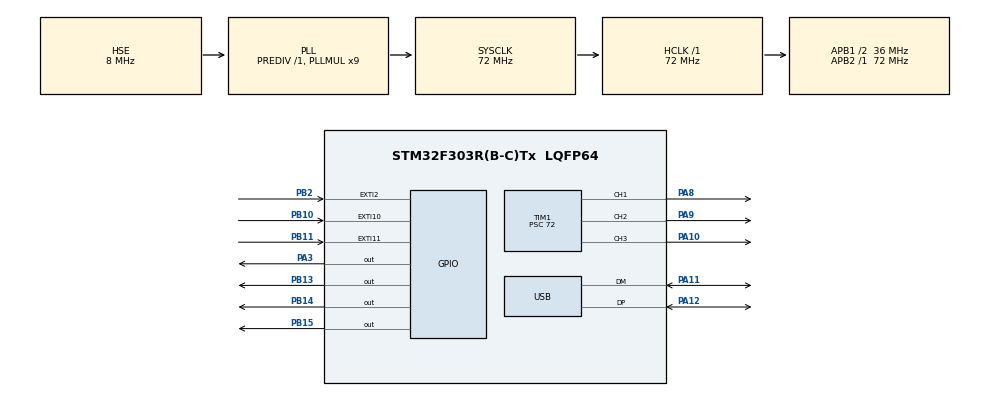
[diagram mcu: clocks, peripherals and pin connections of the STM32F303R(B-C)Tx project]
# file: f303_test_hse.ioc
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Mcu.Family=STM32F3
Mcu.Name=STM32F303R(B-C)Tx
Mcu.Package=LQFP64
NVIC.EXTI15_10_IRQn=true\:1\:0\:true\:false\:true\:true
NVIC.EXTI2_TSC_IRQn=true\:1\:0\:true\:false\:true\:true
NVIC.PriorityGroup=NVIC_PRIORITYGROUP_4
NVIC.TIM3_IRQn=true\:2\:0\:true\:false\:true\:true
NVIC.TIM4_IRQn=true\:2\:0\:true\:false\:true\:true
NVIC.USB_LP_CAN_RX0_IRQn=true\:0\:0\:false\:false\:true\:false
PA10.GPIO_PuPd=GPIO_PULLDOWN
PA10.Signal=S_TIM1_CH3
PA11.Mode=Device
PA11.Signal=USB_DM
PA12.Mode=Device
PA12.Signal=USB_DP
PA3.Signal=GPIO_Output
PA8.GPIO_PuPd=GPIO_PULLDOWN
PA8.Signal=S_TIM1_CH1
PA9.GPIO_PuPd=GPIO_PULLDOWN
PA9.Signal=S_TIM1_CH2
PB10.GPIO_PuPd=GPIO_PULLDOWN
PB10.Signal=GPXTI10
PB11.GPIO_PuPd=GPIO_PULLDOWN
PB11.Signal=GPXTI11
PB13.GPIO_ModeDefaultOutputPP=GPIO_MODE_OUTPUT_PP
PB13.GPIO_PuPd=GPIO_PULLDOWN
PB13.Signal=GPIO_Output
PB14.GPIO_ModeDefaultOutputPP=GPIO_MODE_OUTPUT_PP
PB14.GPIO_PuPd=GPIO_PULLDOWN
PB14.Signal=GPIO_Output
PB15.GPIO_ModeDefaultOutputPP=GPIO_MODE_OUTPUT_PP
PB15.GPIO_PuPd=GPIO_PULLDOWN
PB15.Signal=GPIO_Output
PB2.GPIO_PuPd=GPIO_PULLDOWN
PB2.Signal=GPXTI2
PF0-OSC_IN.Mode=HSE-External-Oscillator
PF0-OSC_IN.Signal=RCC_OSC_IN
PF1-OSC_OUT.Mode=HSE-External-Oscillator
PF1-OSC_OUT.Signal=RCC_OSC_OUT
ProjectManager.HeapSize=0x200
ProjectManager.StackSize=0x400
ProjectManager.TargetToolchain=MDK-ARM V5
RCC.AHBFreq_Value=72000000
RCC.APB1CLKDivider=RCC_HCLK_DIV2
RCC.APB1Freq_Value=36000000
RCC.APB1TimFreq_Value=72000000
RCC.APB2Freq_Value=72000000
RCC.APB2TimFreq_Value=72000000
RCC.CortexFreq_Value=72000000
RCC.HCLKFreq_Value=72000000
RCC.HSE_VALUE=8000000
RCC.HSI_VALUE=8000000
RCC.LSE_VALUE=32768
RCC.PLLMUL=RCC_PLL_MUL9
RCC.PRESCALERUSB=RCC_USBCLKSOURCE_PLL_DIV1_5
RCC.SYSCLKFreq_VALUE=72000000
RCC.SYSCLKSourceVirtual=RCC_SYSCLKSOURCE_PLLCLK
RCC.USBFreq_Value=48000000
SH.S_TIM1_CH1.0=TIM1_CH1,PWM Generation1 CH1
SH.S_TIM1_CH2.0=TIM1_CH2,PWM Generation2 CH2
SH.S_TIM1_CH3.0=TIM1_CH3,PWM Generation3 CH3
TIM1.Channel-PWM\ Generation1\ CH1=TIM_CHANNEL_1
TIM1.Channel-PWM\ Generation2\ CH2=TIM_CHANNEL_2
TIM1.Channel-PWM\ Generation3\ CH3=TIM_CHANNEL_3
TIM1.Prescaler=72
TIM1.Pulse-PWM\ Generation1\ CH1=1200
TIM1.Pulse-PWM\ Generation2\ CH2=1200
TIM1.Pulse-PWM\ Generation3\ CH3=1200
TIM1.RepetitionCounter=2400
TIM2.Period=4294967295
TIM2.Prescaler=72
USB_DEVICE.CLASS_NAME_FS=CDC
USB_DEVICE.VirtualMode=Cdc
USB_DEVICE.VirtualModeFS=Cdc_FS
VP_TIM1_VS_ClockSourceINT.Mode=Internal
VP_TIM2_VS_ClockSourceINT.Mode=Internal
VP_TIM3_VS_ClockSourceINT.Mode=Internal
VP_TIM4_VS_ClockSourceINT.Mode=Internal
VP_USB_DEVICE_VS_USB_DEVICE_CDC_FS.Mode=CDC_FS
board=f303_test_hse

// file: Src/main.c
/**
  ******************************************************************************
  * File Name          : main.c
  * Description        : Main program body
  ******************************************************************************
  * This notice applies to any and all portions of this file
  * that are not between comment pairs USER CODE BEGIN and
  * USER CODE END. Other portions of this file, whether
  * inserted by the user or by software development tools
  * are owned by their respective copyright owners.
  *
  * Copyright (c) 2018 STMicroelectronics International N.V.
  * All rights reserved.
  *
  * Redistribution and use in source and binary forms, with or without
  * modification, are permitted, provided that the following conditions are met:
  *
  * 1. Redistribution of source code must retain the above copyright notice,
  *    this list of conditions and the following disclaimer.
  * 2. Redistributions in binary form must reproduce the above copyright notice,
  *    this list of conditions and the following disclaimer in the documentation
  *    and/or other materials provided with the distribution.
  * 3. Neither the name of STMicroelectronics nor the names of other
  *    contributors to this software may be used to endorse or promote products
  *    derived from this software without specific written permission.
  * 4. This software, including modifications and/or derivative works of this
  *    software, must execute solely and exclusively on microcontroller or
  *    microprocessor devices manufactured by or for STMicroelectronics.
  * 5. Redistribution and use of this software other than as permitted under
  *    this license is void and will automatically terminate your rights under
  *    this license.
  *
  * THIS SOFTWARE IS PROVIDED BY STMICROELECTRONICS AND CONTRIBUTORS "AS IS"
  * AND ANY EXPRESS, IMPLIED OR STATUTORY WARRANTIES, INCLUDING, BUT NOT
  * LIMITED TO, THE IMPLIED WARRANTIES OF MERCHANTABILITY, FITNESS FOR A
  * PARTICULAR PURPOSE AND NON-INFRINGEMENT OF THIRD PARTY INTELLECTUAL PROPERTY
  * RIGHTS ARE DISCLAIMED TO THE FULLEST EXTENT PERMITTED BY LAW. IN NO EVENT
  * SHALL STMICROELECTRONICS OR CONTRIBUTORS BE LIABLE FOR ANY DIRECT, INDIRECT,
  * INCIDENTAL, SPECIAL, EXEMPLARY, OR CONSEQUENTIAL DAMAGES (INCLUDING, BUT NOT
  * LIMITED TO, PROCUREMENT OF SUBSTITUTE GOODS OR SERVICES; LOSS OF USE, DATA,
  * OR PROFITS; OR BUSINESS INTERRUPTION) HOWEVER CAUSED AND ON ANY THEORY OF
  * LIABILITY, WHETHER IN CONTRACT, STRICT LIABILITY, OR TORT (INCLUDING
  * NEGLIGENCE OR OTHERWISE) ARISING IN ANY WAY OUT OF THE USE OF THIS SOFTWARE,
  * EVEN IF ADVISED OF THE POSSIBILITY OF SUCH DAMAGE.
  *
  ******************************************************************************
  */

#include "main.h"
#include "stm32f3xx_hal.h"
#include "usb_device.h"

TIM_HandleTypeDef htim1;
TIM_HandleTypeDef htim2;
TIM_HandleTypeDef htim3;
TIM_HandleTypeDef htim4;

/* USER CODE BEGIN PV */
/* Private variables ---------------------------------------------------------*/
float t_set = 4294.0f;
const int t_set_cr = 1500;
const int pwm_cr = 810;
const int pwm_min = 350 ;
int t_prev = 0;
int t_curr = 0;
const int pwm_max = 2400;
int pwm_val = 800;
int diff = 0;
int min_diff = 250;
bool rot_lf = true;
uint8_t receive_buf[64] = {0};
uint32_t rot_val = 34;
bool new_state = false;
/* USER CODE END PV */

void SystemClock_Config(void);
static void MX_GPIO_Init(void);
static void MX_TIM1_Init(void);
static void MX_TIM2_Init(void);
static void MX_TIM3_Init(void);
static void MX_TIM4_Init(void);
void HAL_TIM_MspPostInit(TIM_HandleTypeDef *htim);

/* USER CODE BEGIN PFP */
/* Private function prototypes -----------------------------------------------*/

/* USER CODE END PFP */

int main(void)
{

  /* MCU Configuration----------------------------------------------------------*/

  /* Reset of all peripherals, Initializes the Flash interface and the Systick. */
  HAL_Init();

  /* Configure the system clock */
  SystemClock_Config();

  /* Initialize all configured peripherals */
  MX_GPIO_Init();
  MX_USB_DEVICE_Init();
  MX_TIM1_Init();
  MX_TIM2_Init();
  MX_TIM3_Init();
  MX_TIM4_Init();

  /* USER CODE BEGIN 2 */
	HAL_TIM_PWM_Init(&htim1);
	HAL_TIM_Base_Start(&htim1);
	HAL_TIM_Base_Start(&htim2);
	HAL_TIM_Base_Start_IT(&htim3);
	HAL_TIM_Base_Start_IT(&htim4);
	HAL_NVIC_SetPriority(TIM3_IRQn , 2, 0);
  HAL_NVIC_EnableIRQ(TIM3_IRQn);
  /* USER CODE END 2 */

  /* Infinite loop */
  while (1)
  {

  }

}

/** System Clock Configuration
*/
void SystemClock_Config(void)
{

  RCC_OscInitTypeDef RCC_OscInitStruct;
  RCC_ClkInitTypeDef RCC_ClkInitStruct;
  RCC_PeriphCLKInitTypeDef PeriphClkInit;

    /**Initializes the CPU, AHB and APB busses clocks
    */
  RCC_OscInitStruct.OscillatorType = RCC_OSCILLATORTYPE_HSE;
  RCC_OscInitStruct.HSEState = RCC_HSE_ON;
  RCC_OscInitStruct.HSEPredivValue = RCC_HSE_PREDIV_DIV1;
  RCC_OscInitStruct.HSIState = RCC_HSI_ON;
  RCC_OscInitStruct.PLL.PLLState = RCC_PLL_ON;
  RCC_OscInitStruct.PLL.PLLSource = RCC_PLLSOURCE_HSE;
  RCC_OscInitStruct.PLL.PLLMUL = RCC_PLL_MUL9;
  if (HAL_RCC_OscConfig(&RCC_OscInitStruct) != HAL_OK)
  {
    _Error_Handler(__FILE__, __LINE__);
  }

    /**Initializes the CPU, AHB and APB busses clocks
    */
  RCC_ClkInitStruct.ClockType = RCC_CLOCKTYPE_HCLK|RCC_CLOCKTYPE_SYSCLK
                              |RCC_CLOCKTYPE_PCLK1|RCC_CLOCKTYPE_PCLK2;
  RCC_ClkInitStruct.SYSCLKSource = RCC_SYSCLKSOURCE_PLLCLK;
  RCC_ClkInitStruct.AHBCLKDivider = RCC_SYSCLK_DIV1;
  RCC_ClkInitStruct.APB1CLKDivider = RCC_HCLK_DIV2;
  RCC_ClkInitStruct.APB2CLKDivider = RCC_HCLK_DIV1;

  if (HAL_RCC_ClockConfig(&RCC_ClkInitStruct, FLASH_LATENCY_2) != HAL_OK)
  {
    _Error_Handler(__FILE__, __LINE__);
  }

  PeriphClkInit.PeriphClockSelection = RCC_PERIPHCLK_USB|RCC_PERIPHCLK_TIM1;
  PeriphClkInit.USBClockSelection = RCC_USBCLKSOURCE_PLL_DIV1_5;
  PeriphClkInit.Tim1ClockSelection = RCC_TIM1CLK_HCLK;
  if (HAL_RCCEx_PeriphCLKConfig(&PeriphClkInit) != HAL_OK)
  {
    _Error_Handler(__FILE__, __LINE__);
  }

    /**Configure the Systick interrupt time
    */
  HAL_SYSTICK_Config(HAL_RCC_GetHCLKFreq()/1000);

    /**Configure the Systick
    */
  HAL_SYSTICK_CLKSourceConfig(SYSTICK_CLKSOURCE_HCLK);

  /* SysTick_IRQn interrupt configuration */
  HAL_NVIC_SetPriority(SysTick_IRQn, 0, 0);
}

/* TIM1 init function */
static void MX_TIM1_Init(void)
{

  TIM_ClockConfigTypeDef sClockSourceConfig;
  TIM_MasterConfigTypeDef sMasterConfig;
  TIM_OC_InitTypeDef sConfigOC;
  TIM_BreakDeadTimeConfigTypeDef sBreakDeadTimeConfig;

  htim1.Instance = TIM1;
  htim1.Init.Prescaler = 0;
  htim1.Init.CounterMode = TIM_COUNTERMODE_UP;
  htim1.Init.Period = 2400;
  htim1.Init.ClockDivision = TIM_CLOCKDIVISION_DIV1;
  htim1.Init.RepetitionCounter = 0;
  htim1.Init.AutoReloadPreload = TIM_AUTORELOAD_PRELOAD_DISABLE;
  if (HAL_TIM_Base_Init(&htim1) != HAL_OK)
  {
    _Error_Handler(__FILE__, __LINE__);
  }

  sClockSourceConfig.ClockSource = TIM_CLOCKSOURCE_INTERNAL;
  if (HAL_TIM_ConfigClockSource(&htim1, &sClockSourceConfig) != HAL_OK)
  {
    _Error_Handler(__FILE__, __LINE__);
  }

  if (HAL_TIM_PWM_Init(&htim1) != HAL_OK)
  {
    _Error_Handler(__FILE__, __LINE__);
  }

  sMasterConfig.MasterOutputTrigger = TIM_TRGO_RESET;
  sMasterConfig.MasterOutputTrigger2 = TIM_TRGO2_RESET;
  sMasterConfig.MasterSlaveMode = TIM_MASTERSLAVEMODE_DISABLE;
  if (HAL_TIMEx_MasterConfigSynchronization(&htim1, &sMasterConfig) != HAL_OK)
  {
    _Error_Handler(__FILE__, __LINE__);
  }

  sConfigOC.OCMode = TIM_OCMODE_PWM1;
  sConfigOC.Pulse = 200;
  sConfigOC.OCPolarity = TIM_OCPOLARITY_HIGH;
  sConfigOC.OCNPolarity = TIM_OCNPOLARITY_HIGH;
  sConfigOC.OCFastMode = TIM_OCFAST_DISABLE;
  sConfigOC.OCIdleState = TIM_OCIDLESTATE_RESET;
  sConfigOC.OCNIdleState = TIM_OCNIDLESTATE_RESET;
  if (HAL_TIM_PWM_ConfigChannel(&htim1, &sConfigOC, TIM_CHANNEL_1) != HAL_OK)
  {
    _Error_Handler(__FILE__, __LINE__);
  }

  if (HAL_TIM_PWM_ConfigChannel(&htim1, &sConfigOC, TIM_CHANNEL_2) != HAL_OK)
  {
    _Error_Handler(__FILE__, __LINE__);
  }

  if (HAL_TIM_PWM_ConfigChannel(&htim1, &sConfigOC, TIM_CHANNEL_3) != HAL_OK)
  {
    _Error_Handler(__FILE__, __LINE__);
  }

  sBreakDeadTimeConfig.OffStateRunMode = TIM_OSSR_DISABLE;
  sBreakDeadTimeConfig.OffStateIDLEMode = TIM_OSSI_DISABLE;
  sBreakDeadTimeConfig.LockLevel = TIM_LOCKLEVEL_OFF;
  sBreakDeadTimeConfig.DeadTime = 0;
  sBreakDeadTimeConfig.BreakState = TIM_BREAK_DISABLE;
  sBreakDeadTimeConfig.BreakPolarity = TIM_BREAKPOLARITY_HIGH;
  sBreakDeadTimeConfig.BreakFilter = 0;
  sBreakDeadTimeConfig.Break2State = TIM_BREAK2_DISABLE;
  sBreakDeadTimeConfig.Break2Polarity = TIM_BREAK2POLARITY_HIGH;
  sBreakDeadTimeConfig.Break2Filter = 0;
  sBreakDeadTimeConfig.AutomaticOutput = TIM_AUTOMATICOUTPUT_DISABLE;
  if (HAL_TIMEx_ConfigBreakDeadTime(&htim1, &sBreakDeadTimeConfig) != HAL_OK)
  {
    _Error_Handler(__FILE__, __LINE__);
  }

  HAL_TIM_MspPostInit(&htim1);

}

/* TIM2 init function */
static void MX_TIM2_Init(void)
{

  TIM_ClockConfigTypeDef sClockSourceConfig;
  TIM_MasterConfigTypeDef sMasterConfig;

  htim2.Instance = TIM2;
  htim2.Init.Prescaler = 72;
  htim2.Init.CounterMode = TIM_COUNTERMODE_UP;
  htim2.Init.Period = 4294967295;
  htim2.Init.ClockDivision = TIM_CLOCKDIVISION_DIV1;
  htim2.Init.AutoReloadPreload = TIM_AUTORELOAD_PRELOAD_DISABLE;
  if (HAL_TIM_Base_Init(&htim2) != HAL_OK)
  {
    _Error_Handler(__FILE__, __LINE__);
  }

  sClockSourceConfig.ClockSource = TIM_CLOCKSOURCE_INTERNAL;
  if (HAL_TIM_ConfigClockSource(&htim2, &sClockSourceConfig) != HAL_OK)
  {
    _Error_Handler(__FILE__, __LINE__);
  }

  sMasterConfig.MasterOutputTrigger = TIM_TRGO_RESET;
  sMasterConfig.MasterSlaveMode = TIM_MASTERSLAVEMODE_DISABLE;
  if (HAL_TIMEx_MasterConfigSynchronization(&htim2, &sMasterConfig) != HAL_OK)
  {
    _Error_Handler(__FILE__, __LINE__);
  }

}

/* TIM3 init function */
static void MX_TIM3_Init(void)
{

  TIM_ClockConfigTypeDef sClockSourceConfig;
  TIM_MasterConfigTypeDef sMasterConfig;

  htim3.Instance = TIM3;
  htim3.Init.Prescaler = 72;
  htim3.Init.CounterMode = TIM_COUNTERMODE_UP;
  htim3.Init.Period = 300;
  htim3.Init.ClockDivision = TIM_CLOCKDIVISION_DIV1;
  htim3.Init.AutoReloadPreload = TIM_AUTORELOAD_PRELOAD_DISABLE;
  if (HAL_TIM_Base_Init(&htim3) != HAL_OK)
  {
    _Error_Handler(__FILE__, __LINE__);
  }

  sClockSourceConfig.ClockSource = TIM_CLOCKSOURCE_INTERNAL;
  if (HAL_TIM_ConfigClockSource(&htim3, &sClockSourceConfig) != HAL_OK)
  {
    _Error_Handler(__FILE__, __LINE__);
  }

  sMasterConfig.MasterOutputTrigger = TIM_TRGO_RESET;
  sMasterConfig.MasterSlaveMode = TIM_MASTERSLAVEMODE_DISABLE;
  if (HAL_TIMEx_MasterConfigSynchronization(&htim3, &sMasterConfig) != HAL_OK)
  {
    _Error_Handler(__FILE__, __LINE__);
  }

}

/* TIM4 init function */
static void MX_TIM4_Init(void)
{

  TIM_ClockConfigTypeDef sClockSourceConfig;
  TIM_MasterConfigTypeDef sMasterConfig;

  htim4.Instance = TIM4;
  htim4.Init.Prescaler = 0;
  htim4.Init.CounterMode = TIM_COUNTERMODE_UP;
  htim4.Init.Period = 0;
  htim4.Init.ClockDivision = TIM_CLOCKDIVISION_DIV1;
  htim4.Init.AutoReloadPreload = TIM_AUTORELOAD_PRELOAD_DISABLE;
  if (HAL_TIM_Base_Init(&htim4) != HAL_OK)
  {
    _Error_Handler(__FILE__, __LINE__);
  }

  sClockSourceConfig.ClockSource = TIM_CLOCKSOURCE_INTERNAL;
  if (HAL_TIM_ConfigClockSource(&htim4, &sClockSourceConfig) != HAL_OK)
  {
    _Error_Handler(__FILE__, __LINE__);
  }

  sMasterConfig.MasterOutputTrigger = TIM_TRGO_RESET;
  sMasterConfig.MasterSlaveMode = TIM_MASTERSLAVEMODE_DISABLE;
  if (HAL_TIMEx_MasterConfigSynchronization(&htim4, &sMasterConfig) != HAL_OK)
  {
    _Error_Handler(__FILE__, __LINE__);
  }

}

/** Configure pins as
        * Analog
        * Input
        * Output
        * EVENT_OUT
        * EXTI
*/
static void MX_GPIO_Init(void)
{

  GPIO_InitTypeDef GPIO_InitStruct;

  /* GPIO Ports Clock Enable */
  __HAL_RCC_GPIOF_CLK_ENABLE();
  __HAL_RCC_GPIOA_CLK_ENABLE();
  __HAL_RCC_GPIOB_CLK_ENABLE();

  /*Configure GPIO pin Output Level */
  HAL_GPIO_WritePin(GPIOA, GPIO_PIN_3, GPIO_PIN_RESET);

  /*Configure GPIO pin Output Level */
  HAL_GPIO_WritePin(GPIOB, GPIO_PIN_13|GPIO_PIN_14|GPIO_PIN_15, GPIO_PIN_RESET);

  /*Configure GPIO pin : PA3 */
  GPIO_InitStruct.Pin = GPIO_PIN_3;
  GPIO_InitStruct.Mode = GPIO_MODE_OUTPUT_PP;
  GPIO_InitStruct.Pull = GPIO_NOPULL;
  GPIO_InitStruct.Speed = GPIO_SPEED_FREQ_LOW;
  HAL_GPIO_Init(GPIOA, &GPIO_InitStruct);

  /*Configure GPIO pins : PB2 PB10 PB11 */
  GPIO_InitStruct.Pin = GPIO_PIN_2|GPIO_PIN_10|GPIO_PIN_11;
  GPIO_InitStruct.Mode = GPIO_MODE_IT_RISING_FALLING;
  GPIO_InitStruct.Pull = GPIO_PULLDOWN;
  HAL_GPIO_Init(GPIOB, &GPIO_InitStruct);

  /*Configure GPIO pins : PB13 PB14 PB15 */
  GPIO_InitStruct.Pin = GPIO_PIN_13|GPIO_PIN_14|GPIO_PIN_15;
  GPIO_InitStruct.Mode = GPIO_MODE_OUTPUT_PP;
  GPIO_InitStruct.Pull = GPIO_PULLDOWN;
  GPIO_InitStruct.Speed = GPIO_SPEED_FREQ_LOW;
  HAL_GPIO_Init(GPIOB, &GPIO_InitStruct);

  /* EXTI interrupt init*/
  HAL_NVIC_SetPriority(EXTI2_TSC_IRQn, 1, 0);
  HAL_NVIC_EnableIRQ(EXTI2_TSC_IRQn);

  HAL_NVIC_SetPriority(EXTI15_10_IRQn, 1, 0);
  HAL_NVIC_EnableIRQ(EXTI15_10_IRQn);

}

/* USER CODE BEGIN 4 */
void rotate(void){
	new_state = true;
	int c_state = calcState();

	stopAll();

	switch( c_state ){
		case 1:
			HAL_TIM_PWM_Start(&htim1,TIM_CHANNEL_1);
			HAL_GPIO_WritePin(GPIOB,GPIO_PIN_14,GPIO_PIN_SET);
			break;
    case 3:
			HAL_TIM_PWM_Start(&htim1,TIM_CHANNEL_1);
			HAL_GPIO_WritePin(GPIOB,GPIO_PIN_15,GPIO_PIN_SET);
			break;
		case 2:
			HAL_TIM_PWM_Start(&htim1,TIM_CHANNEL_2);
			HAL_GPIO_WritePin(GPIOB,GPIO_PIN_15,GPIO_PIN_SET);
			break;
		case 6:
			HAL_TIM_PWM_Start(&htim1,TIM_CHANNEL_2);
			HAL_GPIO_WritePin(GPIOB,GPIO_PIN_13,GPIO_PIN_SET);
			break;
		case 4:
			HAL_TIM_PWM_Start(&htim1,TIM_CHANNEL_3);
			HAL_GPIO_WritePin(GPIOB,GPIO_PIN_13,GPIO_PIN_SET);
			break;
		case 5:
			HAL_TIM_PWM_Start(&htim1,TIM_CHANNEL_3);
			HAL_GPIO_WritePin(GPIOB,GPIO_PIN_14,GPIO_PIN_SET);
			break;

    default:
			stopAll();
	}

	return;
};

void calcDiff(void){
	char b[30];
	t_curr = htim2.Instance->CNT;
	diff = t_curr - t_prev;
	t_prev = t_curr;
	sprintf(b,"%d,\n",diff);
	CDC_Transmit_FS(b,strlen(b));
};

void rotate2(void){
	const int states[6] = {1,3,2,6,4,5};
	static int i = 0;
	int c_state = states[i];
	stopAll();
	++i;
	if (i>=6) {
		i = 0;
	}
	switch( c_state ){
		case 1:
			HAL_TIM_PWM_Start(&htim1,TIM_CHANNEL_1);
			HAL_GPIO_WritePin(GPIOB,GPIO_PIN_14,GPIO_PIN_SET);
			break;
    case 3:
			HAL_TIM_PWM_Start(&htim1,TIM_CHANNEL_1);
			HAL_GPIO_WritePin(GPIOB,GPIO_PIN_15,GPIO_PIN_SET);
			break;
		case 2:
			HAL_TIM_PWM_Start(&htim1,TIM_CHANNEL_2);
			HAL_GPIO_WritePin(GPIOB,GPIO_PIN_15,GPIO_PIN_SET);
			break;
		case 6:
			HAL_TIM_PWM_Start(&htim1,TIM_CHANNEL_2);
			HAL_GPIO_WritePin(GPIOB,GPIO_PIN_13,GPIO_PIN_SET);
			break;
		case 4:
			HAL_TIM_PWM_Start(&htim1,TIM_CHANNEL_3);
			HAL_GPIO_WritePin(GPIOB,GPIO_PIN_13,GPIO_PIN_SET);
			break;
		case 5:
			HAL_TIM_PWM_Start(&htim1,TIM_CHANNEL_3);
			HAL_GPIO_WritePin(GPIOB,GPIO_PIN_14,GPIO_PIN_SET);
			break;

    default:
			stopAll();
	}
	return;
};

void usDelay(int d){
	int t = htim2.Instance->CNT;
	while(htim2.Instance->CNT - t < d){

	}

};

int calcState(void){
	//B11 - 4, B10 - 2, B2 -1
	int cc_stt = 0;
	if(HAL_GPIO_ReadPin(GPIOB,GPIO_PIN_2) == GPIO_PIN_SET){
		cc_stt += 1;
	}
	if(HAL_GPIO_ReadPin(GPIOB,GPIO_PIN_10) == GPIO_PIN_SET){
		cc_stt += 2;
	}
	if(HAL_GPIO_ReadPin(GPIOB,GPIO_PIN_11) == GPIO_PIN_SET){
		cc_stt += 4;
	}
	return cc_stt;
};

void startRotate(void){
	int count = 0;
	int h_delay = 1;
	int start_val = 2350;
	HAL_NVIC_DisableIRQ(EXTI15_10_IRQn);
	HAL_NVIC_DisableIRQ(EXTI2_TSC_IRQn);
	__HAL_TIM_SET_COMPARE(&htim1,TIM_CHANNEL_1,start_val);
	__HAL_TIM_SET_COMPARE(&htim1,TIM_CHANNEL_2,start_val);
	__HAL_TIM_SET_COMPARE(&htim1,TIM_CHANNEL_3,start_val);
	while (count<200)
  {
				++count;
				rotate();
				HAL_Delay(h_delay);

  }
	HAL_NVIC_EnableIRQ(EXTI15_10_IRQn);
	HAL_NVIC_EnableIRQ(EXTI2_TSC_IRQn);
	__HAL_TIM_SET_COMPARE(&htim1,TIM_CHANNEL_1,pwm_val);
	__HAL_TIM_SET_COMPARE(&htim1,TIM_CHANNEL_2,pwm_val);
	__HAL_TIM_SET_COMPARE(&htim1,TIM_CHANNEL_3,pwm_val);
	HAL_NVIC_SetPriority(TIM4_IRQn , 2, 1);
  HAL_NVIC_EnableIRQ(TIM4_IRQn);
	HAL_NVIC_SetPriority(TIM3_IRQn , 2, 0);
  HAL_NVIC_EnableIRQ(TIM3_IRQn);
	return;
};

void stopAll(void){
	HAL_TIM_PWM_Stop(&htim1,TIM_CHANNEL_1); //SW1
	HAL_TIM_PWM_Stop(&htim1,TIM_CHANNEL_2); //SW3
	HAL_TIM_PWM_Stop(&htim1,TIM_CHANNEL_3); //SW5
	HAL_GPIO_WritePin(GPIOB,GPIO_PIN_13,GPIO_PIN_RESET);
	HAL_GPIO_WritePin(GPIOB,GPIO_PIN_14,GPIO_PIN_RESET);
	HAL_GPIO_WritePin(GPIOB,GPIO_PIN_15,GPIO_PIN_RESET);
	return;
};

void changeRotation(void){

	return;
};

void PID(void){
	// Kp = 0.00001f, Ki = 0.00096f Kd = 0.782f; pwm>=1000 T = 300
	// Kp = 0.00002f;, Ki = 0.00012f Kd = 0.782f pwm 520 - 1000 T = 300
	// Kp = 0.00002f;, Ki = 0.00012f Kd = 0.0f pwm 380 - 520 T = 300
	static float u[2] = {0};
	static int e[3] = {0};
	const float Kp = 0.00002f;
	const float Ki = 0.00012f;
	const float Kd = 0.0f;
	e[2] = e[1];
	e[1] = e[0];
	e[0] =  diff - t_set;
	//u[0] = r[2]*e[2] + r[1]*e[1] + r[0]*e[0] + u[1];
	u[0] = Kp * e[0] + u[1] + Ki * (e[0] + e[1] + e[2]) + Kd*(e[0] - e[1]);
	pwm_val = (int) u[0];
	if(pwm_val<0){
		pwm_val = 0;
		u[1] = 0 ;
	}
	else if(pwm_val>pwm_max){
		pwm_val = pwm_max -1;
		u[1] = pwm_max;
	}
	else{
		u[1] = u[0];
	}
	__HAL_TIM_SET_COMPARE(&htim1,TIM_CHANNEL_1,pwm_val);
	__HAL_TIM_SET_COMPARE(&htim1,TIM_CHANNEL_2,pwm_val);
	__HAL_TIM_SET_COMPARE(&htim1,TIM_CHANNEL_3,pwm_val);

	return;
};

void clean_buf(void){
	memset(receive_buf,0,sizeof(uint8_t)*64);
	return;
};

void read_data(uint8_t* Buf, uint32_t *Len){
	clean_buf();
	memcpy(receive_buf,Buf,*Len);
	sscanf (receive_buf,"%.2f",&t_set);
	return;
};

void send_data(uint8_t* Buf, uint16_t Len){
	CDC_Transmit_FS(Buf,Len);
	return;
};

/* USER CODE END 4 */

void _Error_Handler(char * file, int line)
{
  while(1)
  {
  }
}

/************************ (C) COPYRIGHT STMicroelectronics *****END OF FILE****/
